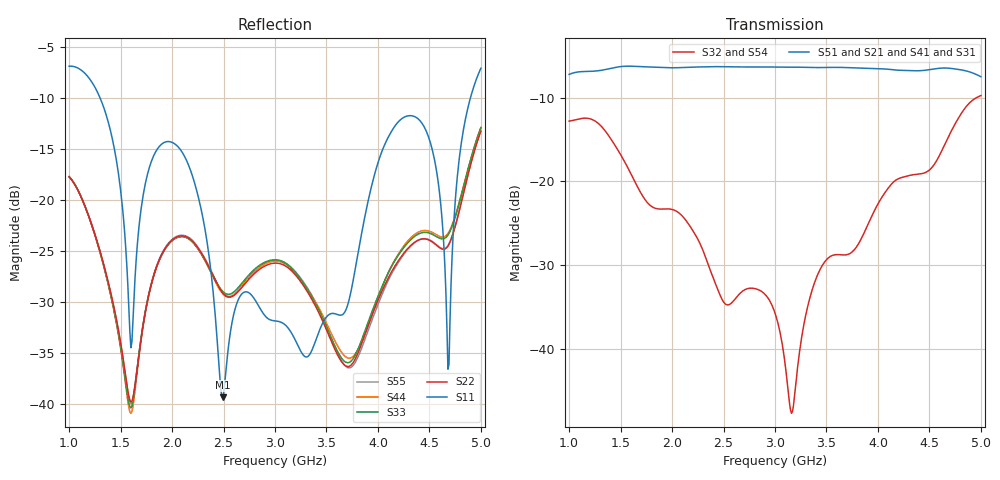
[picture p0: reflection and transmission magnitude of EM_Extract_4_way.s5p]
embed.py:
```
import skrf as rf
import numpy as np
import matplotlib.pyplot as plt

def main():
  
  line_styles = ['-', '--', ':', '-.']
  line_colors = [f"C{i}" for i in range(20)]
  
  src_path = "C:\\Users\\kamaj\\code\\Phased-Array\\src\\awr_output\\correct\\EM_Extract_4_way.s5p"
  dest_path = "C:\\Users\\kamaj\\code\\Phased-Array\\src\\awr_output\\embedded"
  ps_path = "C:\\Users\\kamaj\\code\\Phased-Array\\src\\phase_shifter"
  
  div_ext = ".s5p"
  ps_ext = ".s2p"
  
  
  p1 = np.arange(3, -1, -1) * np.arange(5, 0, -1)[:, np.newaxis]
  p2 = np.arange(0, 4) * np.arange(0, 6)[:, np.newaxis]
  progression = np.concatenate((p1, p2))
  progression_names = [f"{prog[0]:02d}{prog[1]:02d}{prog[2]:02d}{prog[3]:02d}" for prog in progression]
  phase_shifter_progression_names = [[f"{prog[0]:02d}", f"{prog[1]:02d}", f"{prog[2]:02d}", f"{prog[3]:02d}"] for prog in progression]
  
  for i, name in enumerate(progression_names):
    div_net = rf.Network(src_path)
    ps_nets = [rf.Network(f"{ps_path}\\{ps_name}{ps_ext}") for ps_name in phase_shifter_progression_names[i]]
    
    # Embed phase shifters into divider network
    embedded_net = div_net.copy()
    for j, ps_net in enumerate(ps_nets):
      embedded_net = rf.connect(embedded_net, j+1, ps_net, 0)
    
    # Save the embedded network
    # embedded_net.write_touchstone(f"{dest_path}\\full_{name}{div_ext}")
    # embedded_net.plot_s_db(m=0, n=0, label=f'Embedded {name}')
    # div_net.plot_s_db(m=0, n=0, label='Original Divider', linestyle='--')
    # embedded_net.plot_s_deg(m=0, n=slice(1,5), label=f'Embedded {name}')
    # plt.show()
    
    embedded_net.write_touchstone(f"{dest_path}\\{name}{div_ext}")
  
if __name__ == "__main__":
  main()
```
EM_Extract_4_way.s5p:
! AWR Design Environment (19377) Sat Dec 27 02:21:50 2025
! Document = 'EM_Extract_4_way'
! nPorts: 5, nXvals: 401
# GHz S DB R 50
!Freq DBS11 AngS11 DBS12 AngS12 DBS13 AngS13 DBS14 AngS14
!	DBS15 AngS15
!	DBS21 AngS21 DBS22 AngS22 DBS23 AngS23 DBS24 AngS24
!	DBS25 AngS25
!	DBS31 AngS31 DBS32 AngS32 DBS33 AngS33 DBS34 AngS34
!	DBS35 AngS35
!	DBS41 AngS41 DBS42 AngS42 DBS43 AngS43 DBS44 AngS44
!	DBS45 AngS45
!	DBS51 AngS51 DBS52 AngS52 DBS53 AngS53 DBS54 AngS54
!	DBS55 AngS55
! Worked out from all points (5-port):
!   401 points, 1 GHz to 5 GHz, reference 50 ohm
!   strongest paths, dB at 1 GHz, 2 GHz, 3 GHz, 4 GHz, 5 GHz:
!     S51: -7.2, -6.4, -6.3, -6.5, -7.5
!     S21: -7.2, -6.4, -6.3, -6.5, -7.5
!     S41: -7.2, -6.4, -6.4, -6.6, -7.6
!     S31: -7.2, -6.4, -6.4, -6.6, -7.6
!     S32: -12.8, -23.3, -35.7, -22.7, -9.7
!     S54: -12.8, -23.3, -35.9, -22.8, -9.7
!   lowest |S11| = -39.4 dB at 2.49 GHz (marker M1), VSWR 1.02, Z = 49.4 + j0.853 ohm
!   |S11| at or under -10 dB: 1.301 GHz to 4.898 GHz (3.598 GHz wide, 116 % of centre)
